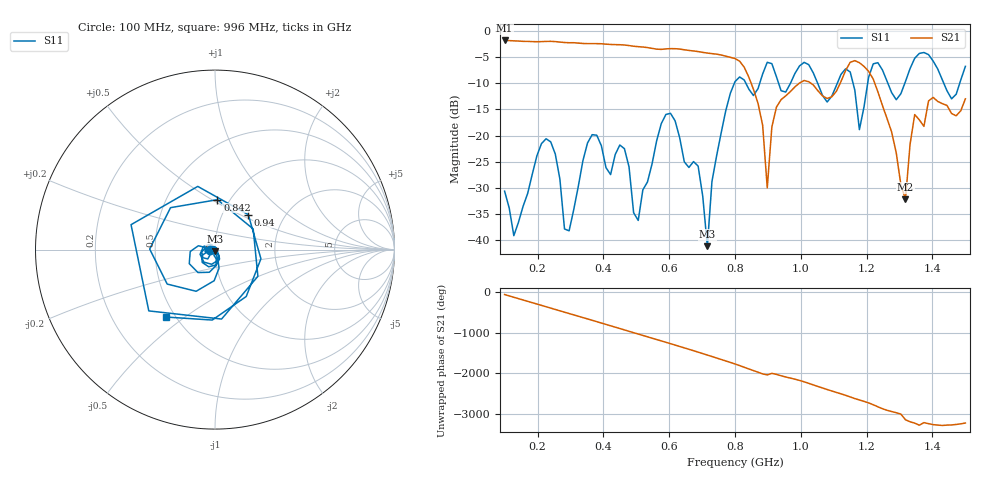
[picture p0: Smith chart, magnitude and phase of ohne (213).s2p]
! NanoVNA-App
! Date: 2025-09-25 14:22:27
! Start: 100MHz Stop: 1,5GHz Points: 101
! S-Parameter data: F S11 S21 S12 S22
# Hz S RI R 50
!  Frequency  S11_Real  S11_Imag  S21_Real  S21_Imag  S12_Real  S12_Imag  S22_Real  S22_Imag
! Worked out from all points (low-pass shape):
!   101 points, 100 MHz to 1.5 GHz, reference 50 ohm
!   highest |S21| = -1.79 dB at 100 MHz (marker M1); lowest = -32.2 dB at 1.318 GHz (marker M2)
!   |S21| within 3 dB of the highest: start of sweep to 771.3 MHz
!   lowest |S11| = -41.2 dB at 716 MHz (marker M3), VSWR 1.02, Z = 49.9 - j0.862 ohm
!   |S11| at or under -10 dB: start of sweep to 797.9 MHz; 833.1 MHz to 875 MHz (41.9 MHz wide, 4.91 % of centre); 1.051 GHz to 1.111 GHz (59.45 MHz wide, 5.5 % of centre) (the widest 3 of 7)
!   S12 and S22 are empty: the file has one direction only
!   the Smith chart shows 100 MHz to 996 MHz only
!   S11 on the Smith chart (normalised r, x): 100 MHz: 0.94, -0.01; 842 MHz: 0.88, +0.53; 940 MHz: 1.32, +0.56; 996 MHz: 0.45, -0.43
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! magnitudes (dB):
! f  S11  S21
! 100 MHz  -30.6  -1.8
! 128 MHz  -39.1  -1.9
! 226 MHz  -20.6  -2.0
! 296 MHz  -38.2  -2.2
! 338 MHz  -24.8  -2.4
! 464 MHz  -22.5  -2.7
! 506 MHz  -36.2  -3.0
! 576 MHz  -17.7  -3.5
! 688 MHz  -25.8  -3.9
! 716 MHz  -41.2  -4.2
! 800 MHz  -9.7  -5.3
! 842 MHz  -11.1  -8.8
! 898 MHz  -6.0  -30.0
! 940 MHz  -11.4  -13.1
! 996 MHz  -6.7  -9.9
! 1.038 GHz  -8.0  -10.3
! 1.178 GHz  -18.9  -6.1
! 1.22 GHz  -6.3  -9.2
! 1.276 GHz  -11.8  -19.3
! 1.318 GHz  -9.6  -32.2
! 1.346 GHz  -5.2  -16.0
! 1.5 GHz  -6.7  -13.0
